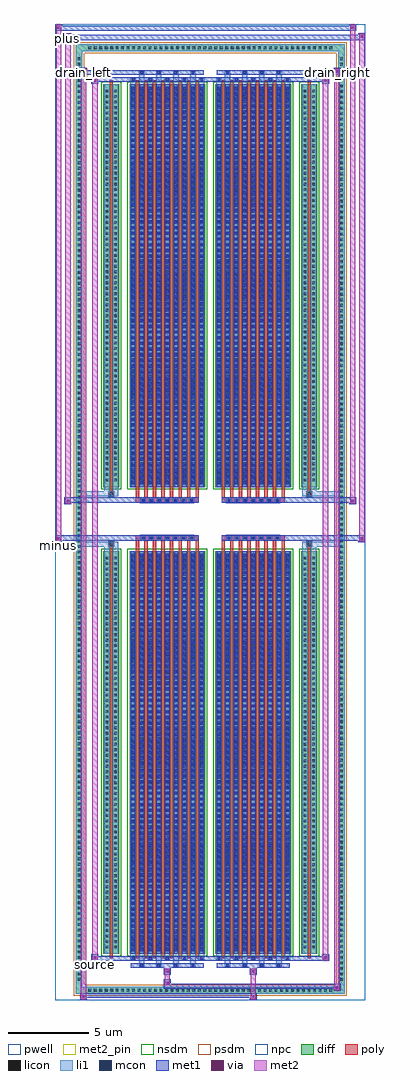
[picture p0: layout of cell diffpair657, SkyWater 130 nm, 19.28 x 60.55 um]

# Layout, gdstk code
import gdstk
lib = gdstk.Library(unit=1e-6, precision=5e-09)
def R(c, l, rs):  # rectangles x0, y0, x1, y1
    for r in rs: c.add(gdstk.rectangle(r[:2], r[2:], *l))
def A(c, l, x, y, w, h, nx, ny, dx, dy):  # array of equal rectangles
    R(c, l, [(x+i*dx, y+j*dy, x+i*dx+w, y+j*dy+h) for i in range(nx) for j in range(ny)])
def P(c, l, *ps):  # polygons
    for p in ps: c.add(gdstk.Polygon(p, *l))
pwell = (64, 44)
diff = (65, 20)
poly = (66, 20)
licon = (66, 44)
li1 = (67, 20)
mcon = (67, 44)
met1 = (68, 20)
via = (68, 44)
met2_pin = (69, 16)
met2 = (69, 20)
nsdm = (93, 44)
psdm = (94, 20)
npc = (95, 20)

diffpair657 = lib.new_cell('diffpair657')
R(diffpair657, pwell, [(-9.62,-29.84,9.62,30.71), (-6.94,-28.03,-0.01,-0.805), (0.01,-28.03,6.94,-0.805), (-6.94,0.805,-0.01,28.03), (0.01,0.805,6.94,28.03)])
A(diffpair657, diff, -7.685, -29.44, 0.41, 0.41, 45, 2, 0.34, 58.47)
A(diffpair657, diff, -8.35, -28.765, 0.41, 0.41, 1, 169, 0, 0.34)
A(diffpair657, diff, 7.94, -28.765, 0.41, 0.41, 1, 169, 0, 0.34)
R(diffpair657, diff, [(-7.685,-29.44,7.685,-29.03), (-8.35,-28.765,-7.94,28.765), (7.94,-28.765,8.35,28.765), (-6.63,-26.985,-5.65,-1.985), (-5.01,-26.985,-0.32,-1.985), (0.32,-26.985,5.01,-1.985), (5.65,-26.985,6.63,-1.985), (-6.63,1.985,-5.65,26.985), (-5.01,1.985,-0.32,26.985), (0.32,1.985,5.01,26.985), (5.65,1.985,6.63,26.985), (-7.685,29.03,7.685,29.44)])
P(diffpair657, diff, [(8.35,29.44),(-8.35,29.44),(-8.35,-29.03),(-7.94,-29.03),(-7.94,29.03),(7.94,29.03),(7.94,-29.03),(-7.94,-29.03),(-8.35,-29.03),(-8.35,-29.44),(8.35,-29.44)])
A(diffpair657, poly, -4.62, -27.235, 0.2, 25.5, 8, 2, 0.53, 28.97)
A(diffpair657, poly, 0.71, -27.235, 0.2, 25.5, 8, 2, 0.53, 28.97)
A(diffpair657, poly, -4.62, -1.735, 0.2, 0.4, 8, 2, 0.53, 3.07)
A(diffpair657, poly, 0.71, -1.735, 0.2, 0.4, 8, 2, 0.53, 3.07)
A(diffpair657, poly, -4.33, -1.335, 0.33, 0.33, 7, 2, 0.5, 2.34)
A(diffpair657, poly, 1, -1.335, 0.33, 0.33, 7, 2, 0.5, 2.34)
R(diffpair657, poly, [(-6.24,-27.235,-6.04,-1.735), (6.04,-27.235,6.24,-1.735), (-6.305,-1.735,-5.975,-1.405), (-6.305,-1.735,-5.975,-1.405), (5.975,-1.735,6.305,-1.405), (5.975,-1.735,6.305,-1.405), (-4.62,-1.335,-0.71,-1.005), (0.71,-1.335,4.62,-1.005), (-4.62,1.005,-0.71,1.335), (0.71,1.005,4.62,1.335), (-6.305,1.405,-5.975,1.735), (-6.305,1.405,-5.975,1.735), (5.975,1.405,6.305,1.735), (5.975,1.405,6.305,1.735), (-6.24,1.735,-6.04,27.235), (6.04,1.735,6.24,27.235)])
A(diffpair657, licon, -7.565, -29.32, 0.17, 0.17, 45, 2, 0.34, 58.47)
A(diffpair657, licon, -8.23, -28.645, 0.17, 0.17, 1, 169, 0, 0.34)
A(diffpair657, licon, 8.06, -28.645, 0.17, 0.17, 1, 169, 0, 0.34)
A(diffpair657, licon, -6.49, -26.64, 0.17, 0.17, 1, 72, 0, 0.34)
A(diffpair657, licon, -5.96, -26.64, 0.17, 0.17, 1, 72, 0, 0.34)
A(diffpair657, licon, -4.87, -26.64, 0.17, 0.17, 9, 72, 0.53, 0.34)
A(diffpair657, licon, 0.46, -26.64, 0.17, 0.17, 9, 72, 0.53, 0.34)
A(diffpair657, licon, 5.79, -26.64, 0.17, 0.17, 1, 72, 0, 0.34)
A(diffpair657, licon, 6.32, -26.64, 0.17, 0.17, 1, 72, 0, 0.34)
A(diffpair657, licon, -4.25, -1.255, 0.17, 0.17, 7, 2, 0.5, 2.34)
A(diffpair657, licon, 1.08, -1.255, 0.17, 0.17, 7, 2, 0.5, 2.34)
A(diffpair657, licon, -6.49, 2.33, 0.17, 0.17, 1, 72, 0, 0.34)
A(diffpair657, licon, -5.96, 2.33, 0.17, 0.17, 1, 72, 0, 0.34)
A(diffpair657, licon, -4.87, 2.33, 0.17, 0.17, 9, 72, 0.53, 0.34)
A(diffpair657, licon, 0.46, 2.33, 0.17, 0.17, 9, 72, 0.53, 0.34)
A(diffpair657, licon, 5.79, 2.33, 0.17, 0.17, 1, 72, 0, 0.34)
A(diffpair657, licon, 6.32, 2.33, 0.17, 0.17, 1, 72, 0, 0.34)
R(diffpair657, licon, [(-6.225,-1.655,-6.055,-1.485), (6.055,-1.655,6.225,-1.485), (-6.225,1.485,-6.055,1.655), (6.055,1.485,6.225,1.655)])
A(diffpair657, li1, -7.645, -29.4, 0.33, 0.33, 45, 2, 0.34, 58.47)
A(diffpair657, li1, -8.31, -28.725, 0.33, 0.33, 1, 169, 0, 0.34)
A(diffpair657, li1, 7.98, -28.725, 0.33, 0.33, 1, 169, 0, 0.34)
A(diffpair657, li1, -4.42, -27.79, 0.33, 0.805, 4, 2, 1.06, 54.775)
A(diffpair657, li1, -4.34, -27.79, 0.17, 0.17, 4, 2, 1.06, 55.41)
A(diffpair657, li1, 0.91, -27.79, 0.33, 0.805, 4, 2, 1.06, 54.775)
A(diffpair657, li1, 0.99, -27.79, 0.17, 0.17, 4, 2, 1.06, 55.41)
A(diffpair657, li1, -4.95, -27.36, 0.33, 0.375, 5, 2, 1.06, 54.345)
A(diffpair657, li1, -4.87, -27.36, 0.17, 0.17, 5, 2, 1.06, 54.55)
A(diffpair657, li1, 0.38, -27.36, 0.33, 0.375, 5, 2, 1.06, 54.345)
A(diffpair657, li1, 0.46, -27.36, 0.17, 0.17, 5, 2, 1.06, 54.55)
A(diffpair657, li1, -4.95, -26.985, 0.33, 25, 9, 2, 0.53, 28.97)
A(diffpair657, li1, 0.38, -26.985, 0.33, 25, 9, 2, 0.53, 28.97)
A(diffpair657, li1, -4.87, -26.81, 0.17, 0.17, 9, 69, 0.53, 0.36)
A(diffpair657, li1, -4.87, -26.81, 0.17, 24.65, 9, 2, 0.53, 28.97)
A(diffpair657, li1, 0.46, -26.81, 0.17, 0.17, 9, 69, 0.53, 0.36)
A(diffpair657, li1, 0.46, -26.81, 0.17, 24.65, 9, 2, 0.53, 28.97)
A(diffpair657, li1, -6.57, -26.72, 0.33, 0.33, 1, 72, 0, 0.34)
A(diffpair657, li1, -6.04, -26.72, 0.33, 0.33, 1, 72, 0, 0.34)
A(diffpair657, li1, -4.95, -26.72, 0.33, 0.33, 9, 72, 0.53, 0.34)
A(diffpair657, li1, 0.38, -26.72, 0.33, 0.33, 9, 72, 0.53, 0.34)
A(diffpair657, li1, 5.71, -26.72, 0.33, 0.33, 1, 72, 0, 0.34)
A(diffpair657, li1, 6.24, -26.72, 0.33, 0.33, 1, 72, 0, 0.34)
A(diffpair657, li1, -4.33, -1.335, 0.33, 0.33, 7, 2, 0.5, 2.34)
A(diffpair657, li1, 1, -1.335, 0.33, 0.33, 7, 2, 0.5, 2.34)
A(diffpair657, li1, -4.87, 2.16, 0.17, 0.17, 9, 69, 0.53, 0.36)
A(diffpair657, li1, 0.46, 2.16, 0.17, 0.17, 9, 69, 0.53, 0.36)
A(diffpair657, li1, -6.57, 2.25, 0.33, 0.33, 1, 72, 0, 0.34)
A(diffpair657, li1, -6.04, 2.25, 0.33, 0.33, 1, 72, 0, 0.34)
A(diffpair657, li1, -4.95, 2.25, 0.33, 0.33, 9, 72, 0.53, 0.34)
A(diffpair657, li1, 0.38, 2.25, 0.33, 0.33, 9, 72, 0.53, 0.34)
A(diffpair657, li1, 5.71, 2.25, 0.33, 0.33, 1, 72, 0, 0.34)
A(diffpair657, li1, 6.24, 2.25, 0.33, 0.33, 1, 72, 0, 0.34)
R(diffpair657, li1, [(-8.35,-29.44,-7.94,-29.03), (-8.35,-29.44,-7.94,-29.03), (-7.94,-29.44,7.94,-29.03), (7.94,-29.44,8.35,-29.03), (7.94,-29.44,8.35,-29.03), (-8.35,-29.03,-7.94,29.03), (7.94,-29.03,8.35,29.03), (-6.57,-26.985,-6.24,-1.985), (-6.04,-26.985,-5.71,-1.985), (5.71,-26.985,6.04,-1.985), (6.24,-26.985,6.57,-1.985), (-6.57,-1.985,-6.24,-1.405), (-6.04,-1.985,-5.71,-1.405), (5.71,-1.985,6.04,-1.405), (6.24,-1.985,6.57,-1.405), (-8.35,-1.735,-6.305,-1.405), (-6.57,-1.735,-6.305,-1.405), (-6.305,-1.735,-5.975,-1.405), (-5.975,-1.735,-5.71,-1.405), (5.71,-1.735,5.975,-1.405), (5.975,-1.735,6.305,-1.405), (5.975,-1.735,8.35,-1.405), (6.305,-1.735,6.57,-1.405), (-8.35,1.405,-6.305,1.735), (-6.57,1.405,-6.305,1.735), (-6.57,1.405,-6.24,1.985), (-6.305,1.405,-5.975,1.735), (-6.04,1.405,-5.71,1.985), (-5.975,1.405,-5.71,1.735), (5.71,1.405,5.975,1.735), (5.71,1.405,6.04,1.985), (5.975,1.405,6.305,1.735), (5.975,1.405,8.35,1.735), (6.24,1.405,6.57,1.985), (6.305,1.405,6.57,1.735), (-6.57,1.985,-6.24,26.985), (-6.04,1.985,-5.71,26.985), (5.71,1.985,6.04,26.985), (6.24,1.985,6.57,26.985), (-8.35,29.03,-7.94,29.44), (-8.35,29.03,-7.94,29.44), (-7.94,29.03,7.94,29.44), (7.94,29.03,8.35,29.44), (7.94,29.03,8.35,29.44)])
A(diffpair657, mcon, -4.34, -27.79, 0.17, 0.17, 4, 2, 1.06, 55.41)
A(diffpair657, mcon, 0.99, -27.79, 0.17, 0.17, 4, 2, 1.06, 55.41)
A(diffpair657, mcon, -4.87, -27.36, 0.17, 0.17, 5, 2, 1.06, 54.55)
A(diffpair657, mcon, 0.46, -27.36, 0.17, 0.17, 5, 2, 1.06, 54.55)
A(diffpair657, mcon, -4.87, -26.81, 0.17, 0.17, 9, 69, 0.53, 0.36)
A(diffpair657, mcon, 0.46, -26.81, 0.17, 0.17, 9, 69, 0.53, 0.36)
A(diffpair657, mcon, -4.25, -1.255, 0.17, 0.17, 7, 2, 0.5, 2.34)
A(diffpair657, mcon, 1.08, -1.255, 0.17, 0.17, 7, 2, 0.5, 2.34)
A(diffpair657, mcon, -4.87, 2.16, 0.17, 0.17, 9, 69, 0.53, 0.36)
A(diffpair657, mcon, 0.46, 2.16, 0.17, 0.17, 9, 69, 0.53, 0.36)
A(diffpair657, met1, -4.4, -27.85, 0.29, 0.29, 4, 2, 1.06, 55.41)
A(diffpair657, met1, 0.93, -27.85, 0.29, 0.29, 4, 2, 1.06, 55.41)
A(diffpair657, met1, -4.93, -27.42, 0.29, 0.29, 5, 2, 1.06, 54.55)
A(diffpair657, met1, 0.4, -27.42, 0.29, 0.29, 5, 2, 1.06, 54.55)
A(diffpair657, met1, -4.93, -26.985, 0.29, 25, 9, 2, 0.53, 28.97)
A(diffpair657, met1, 0.4, -26.985, 0.29, 25, 9, 2, 0.53, 28.97)
A(diffpair657, met1, -4.93, -26.87, 0.29, 0.29, 9, 69, 0.53, 0.36)
A(diffpair657, met1, 0.4, -26.87, 0.29, 0.29, 9, 69, 0.53, 0.36)
A(diffpair657, met1, -4.31, -1.315, 0.29, 0.29, 7, 2, 0.5, 2.34)
A(diffpair657, met1, 1.02, -1.315, 0.29, 0.29, 7, 2, 0.5, 2.34)
A(diffpair657, met1, -4.93, 2.1, 0.29, 0.29, 9, 69, 0.53, 0.36)
A(diffpair657, met1, 0.4, 2.1, 0.29, 0.29, 9, 69, 0.53, 0.36)
R(diffpair657, met1, [(-8.08,-29.84,-7.65,-29.41), (2.45,-29.84,2.88,-29.41), (-8.08,-29.7,2.88,-29.41), (7.65,-29.27,8.08,-28.84), (-2.88,-29.13,8.08,-28.84), (-2.88,-28.99,-2.45,-28.56), (-2.88,-28.28,-2.45,-27.85), (2.45,-28.28,2.88,-27.85), (-4.93,-27.85,-0.4,-27.56), (0.4,-27.85,4.93,-27.56), (-7.37,-27.42,-6.94,-26.99), (-7.37,-27.42,-4.93,-27.13), (-4.93,-27.42,-0.4,-27.13), (-0.4,-27.42,0.4,-27.13), (0.4,-27.42,4.93,-27.13), (4.93,-27.42,7.37,-27.13), (6.94,-27.42,7.37,-26.99), (-9.62,-1.435,-9.19,-1.005), (9.19,-1.435,9.62,-1.005), (-9.62,-1.335,-0.71,-1.005), (-4.62,-1.335,-0.71,-1.005), (0.71,-1.335,4.62,-1.005), (0.71,-1.335,9.62,-1.005), (-9.05,0.905,-8.62,1.335), (8.62,0.905,9.05,1.335), (-9.05,1.005,-4.62,1.335), (-4.62,1.005,-0.71,1.335), (0.71,1.005,4.62,1.335), (4.62,1.005,9.05,1.335), (-7.37,26.99,-6.94,27.42), (6.94,26.99,7.37,27.42), (-7.37,27.13,-4.93,27.42), (-4.93,27.13,-0.4,27.42), (-0.4,27.13,0.4,27.42), (0.4,27.13,4.93,27.42), (4.93,27.13,7.37,27.42), (-8.08,27.56,-7.65,27.99), (-8.08,27.56,-4.93,27.85), (-4.93,27.56,-0.4,27.85), (0.4,27.56,4.93,27.85), (4.93,27.56,8.08,27.85), (7.65,27.56,8.08,27.99), (-9.05,29.71,-8.62,30.14), (-9.05,29.71,-6.94,30.04), (-6.94,29.71,6.94,30.04), (6.94,29.71,9.62,30.04), (9.19,29.71,9.62,30.14), (-9.62,30.28,-9.19,30.71), (-9.62,30.28,-6.94,30.61), (-6.94,30.28,6.94,30.61), (6.94,30.28,9.05,30.61), (8.62,30.28,9.05,30.71)])
R(diffpair657, via, [(-7.94,-29.7,-7.79,-29.55), (2.59,-29.7,2.74,-29.55), (7.79,-29.13,7.94,-28.98), (-2.74,-28.85,-2.59,-28.7), (-2.74,-28.14,-2.59,-27.99), (2.59,-28.14,2.74,-27.99), (-7.23,-27.28,-7.08,-27.13), (7.08,-27.28,7.23,-27.13), (-9.48,-1.295,-9.33,-1.145), (9.33,-1.295,9.48,-1.145), (-8.91,1.045,-8.76,1.195), (8.76,1.045,8.91,1.195), (-7.23,27.13,-7.08,27.28), (7.08,27.13,7.23,27.28), (-7.94,27.7,-7.79,27.85), (7.79,27.7,7.94,27.85), (-8.91,29.85,-8.76,30), (9.33,29.85,9.48,30), (-9.48,30.42,-9.33,30.57), (8.76,30.42,8.91,30.57)])
R(diffpair657, met2_pin, [(-7.405,-27.87,-6.905,-27.37), (-9.655,-1.885,-9.155,-1.385), (-8.115,27.44,-7.615,27.94), (7.615,27.44,8.115,27.94), (-9.085,29.59,-8.585,30.09)])
R(diffpair657, met2, [(-8.03,-29.79,-7.7,-29.46), (-8.03,-29.79,-7.7,27.94), (2.5,-29.79,2.83,-29.46), (2.5,-29.46,2.83,-28.23), (7.7,-29.22,8.03,-28.89), (7.7,-29.22,8.03,27.94), (-2.83,-28.94,-2.5,-28.61), (-2.83,-28.61,-2.5,-28.23), (-2.83,-28.23,-2.5,-27.9), (2.5,-28.23,2.83,-27.9), (-7.32,-27.37,-6.99,-27.04), (-7.32,-27.37,-6.99,27.37), (6.99,-27.37,7.32,-27.04), (6.99,-27.37,7.32,27.37), (-9.57,-1.385,-9.24,-1.055), (-9.57,-1.385,-9.24,30.66), (9.24,-1.385,9.57,-1.055), (9.24,-1.385,9.57,30.09), (-9,0.955,-8.67,1.285), (-9,0.955,-8.67,30.09), (8.67,0.955,9,1.285), (8.67,0.955,9,30.66), (-7.32,27.04,-6.99,27.37), (6.99,27.04,7.32,27.37), (-8.03,27.61,-7.7,27.94), (7.7,27.61,8.03,27.94), (-9,29.76,-8.67,30.09), (9.24,29.76,9.57,30.09), (-9.57,30.33,-9.24,30.66), (8.67,30.33,9,30.66)])
P(diffpair657, met2, [(9.57,-1.385),(9.57,-1.385),(9.57,-1.055),(9.57,-1.055)],
  [(9.57,29.76),(9.57,29.76),(9.57,30.09),(9.57,30.09)],
  [(-9.24,-1.385),(-9.24,-1.385),(-9.24,-1.055),(-9.24,-1.055)],
  [(-9.24,30.33),(-9.24,30.33),(-9.24,30.66),(-9.24,30.66)],
  [(9,0.955),(9,0.955),(9,1.285),(9,1.285)],
  [(9,30.33),(9,30.33),(9,30.66),(9,30.66)],
  [(-8.67,0.955),(-8.67,0.955),(-8.67,1.285),(-8.67,1.285)],
  [(-8.67,29.76),(-8.67,29.76),(-8.67,30.09),(-8.67,30.09)],
  [(-7.7,-29.79),(-7.7,-29.79),(-7.7,-29.46),(-7.7,-29.46)],
  [(-7.7,27.61),(-7.7,27.61),(-7.7,27.94),(-7.7,27.94)],
  [(8.03,-29.22),(8.03,-29.22),(8.03,-28.89),(8.03,-28.89)],
  [(8.03,27.61),(8.03,27.61),(8.03,27.94),(8.03,27.94)],
  [(-6.99,-27.37),(-6.99,-27.37),(-6.99,-27.04),(-6.99,-27.04)],
  [(-6.99,27.04),(-6.99,27.04),(-6.99,27.37),(-6.99,27.37)],
  [(7.32,-27.37),(7.32,-27.37),(7.32,-27.04),(7.32,-27.04)],
  [(7.32,27.04),(7.32,27.04),(7.32,27.37),(7.32,27.37)])
R(diffpair657, nsdm, [(-6.76,-27.115,-5.52,-1.855), (-5.14,-27.115,-0.19,-1.855), (0.19,-27.115,5.14,-1.855), (5.52,-27.115,6.76,-1.855), (-6.76,1.855,-5.52,27.115), (-5.14,1.855,-0.19,27.115), (0.19,1.855,5.14,27.115), (5.52,1.855,6.76,27.115)])
P(diffpair657, psdm, [(8.48,29.57),(-8.48,29.57),(-8.48,-28.9),(-7.81,-28.9),(-7.81,28.9),(7.81,28.9),(7.81,-28.9),(-7.81,-28.9),(-8.48,-28.9),(-8.48,-29.57),(8.48,-29.57)])
A(diffpair657, npc, -4.35, -1.355, 0.37, 0.37, 7, 2, 0.5, 2.34)
A(diffpair657, npc, 0.98, -1.355, 0.37, 0.37, 7, 2, 0.5, 2.34)
R(diffpair657, npc, [(-6.325,-1.755,-5.955,-1.385), (5.955,-1.755,6.325,-1.385), (-4.35,-1.355,-3.48,-0.985), (-4.35,-1.355,-3.48,-0.985), (-3.85,-1.355,-2.98,-0.985), (-3.85,-1.355,-2.98,-0.985), (-3.35,-1.355,-2.48,-0.985), (-3.35,-1.355,-2.48,-0.985), (-2.85,-1.355,-1.98,-0.985), (-2.85,-1.355,-1.98,-0.985), (-2.35,-1.355,-1.48,-0.985), (-2.35,-1.355,-1.48,-0.985), (-1.85,-1.355,-0.98,-0.985), (-1.85,-1.355,-0.98,-0.985), (0.98,-1.355,1.85,-0.985), (0.98,-1.355,1.85,-0.985), (1.48,-1.355,2.35,-0.985), (1.48,-1.355,2.35,-0.985), (1.98,-1.355,2.85,-0.985), (1.98,-1.355,2.85,-0.985), (2.48,-1.355,3.35,-0.985), (2.48,-1.355,3.35,-0.985), (2.98,-1.355,3.85,-0.985), (2.98,-1.355,3.85,-0.985), (3.48,-1.355,4.35,-0.985), (3.48,-1.355,4.35,-0.985), (-4.35,0.985,-3.48,1.355), (-4.35,0.985,-3.48,1.355), (-3.85,0.985,-2.98,1.355), (-3.85,0.985,-2.98,1.355), (-3.35,0.985,-2.48,1.355), (-3.35,0.985,-2.48,1.355), (-2.85,0.985,-1.98,1.355), (-2.85,0.985,-1.98,1.355), (-2.35,0.985,-1.48,1.355), (-2.35,0.985,-1.48,1.355), (-1.85,0.985,-0.98,1.355), (-1.85,0.985,-0.98,1.355), (0.98,0.985,1.85,1.355), (0.98,0.985,1.85,1.355), (1.48,0.985,2.35,1.355), (1.48,0.985,2.35,1.355), (1.98,0.985,2.85,1.355), (1.98,0.985,2.85,1.355), (2.48,0.985,3.35,1.355), (2.48,0.985,3.35,1.355), (2.98,0.985,3.85,1.355), (2.98,0.985,3.85,1.355), (3.48,0.985,4.35,1.355), (3.48,0.985,4.35,1.355), (-6.325,1.385,-5.955,1.755), (5.955,1.385,6.325,1.755)])
diffpair657.add(gdstk.Label('minus', (-9.405,-1.635), layer=69, texttype=5))
diffpair657.add(gdstk.Label('drain_right', (7.865,27.69), layer=69, texttype=5))
diffpair657.add(gdstk.Label('drain_left', (-7.865,27.69), layer=69, texttype=5))
diffpair657.add(gdstk.Label('source', (-7.155,-27.62), layer=69, texttype=5))
diffpair657.add(gdstk.Label('plus', (-8.835,29.84), layer=69, texttype=5))

lib.write_gds('diffpair657.gds')
